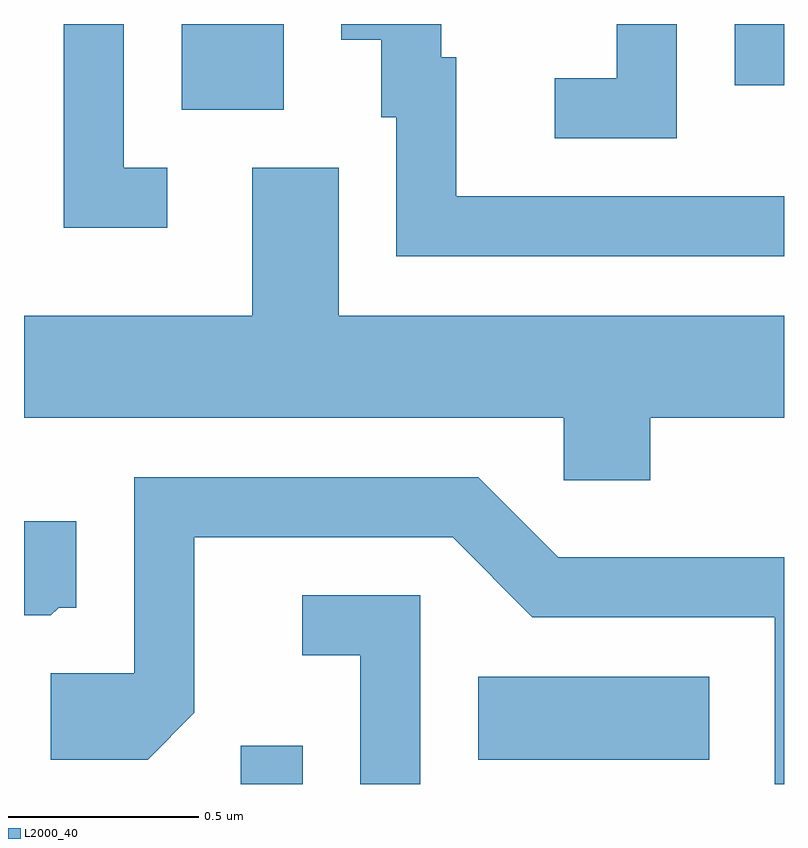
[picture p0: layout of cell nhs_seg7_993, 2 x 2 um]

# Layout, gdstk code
import gdstk
lib = gdstk.Library(unit=1e-6, precision=1e-09)
def R(c, l, rs):  # rectangles x0, y0, x1, y1
    for r in rs: c.add(gdstk.rectangle(r[:2], r[2:], *l))
def P(c, l, *ps):  # polygons
    for p in ps: c.add(gdstk.Polygon(p, *l))
L2000_40 = (2000, 40)

nhs_seg7_993 = lib.new_cell('nhs_seg7_993')
R(nhs_seg7_993, L2000_40, [(193.181,1702.252,193.344,1702.353), (193.806,1702.316,194.414,1702.534), (193.026,1704.026,193.294,1704.252), (194.481,1704.091,194.611,1704.252)])
P(nhs_seg7_993, L2000_40, [(192.988,1703.874),(192.874,1703.874),(192.874,1704.252),(192.716,1704.252),(192.716,1703.716),(192.988,1703.716)],
  [(194.611,1703.799),(193.749,1703.799),(193.749,1704.164),(193.709,1704.164),(193.709,1704.252),(193.446,1704.252),(193.446,1704.211),(193.551,1704.211),(193.551,1704.006),(193.591,1704.006),(193.591,1703.641),(194.611,1703.641)],
  [(194.329,1704.252),(194.171,1704.252),(194.171,1704.109),(194.008,1704.109),(194.008,1703.951),(194.329,1703.951)],
  [(194.259,1703.216),(194.611,1703.216),(194.611,1703.484),(193.439,1703.484),(193.439,1703.874),(193.211,1703.874),(193.211,1703.484),(192.611,1703.484),(192.611,1703.216),(194.031,1703.216),(194.031,1703.051),(194.259,1703.051)],
  [(194.611,1702.849),(194.017,1702.849),(193.807,1703.059),(192.901,1703.059),(192.901,1702.544),(192.681,1702.544),(192.681,1702.316),(192.937,1702.316),(193.059,1702.439),(193.059,1702.901),(193.739,1702.901),(193.949,1702.691),(194.586,1702.691),(194.586,1702.252),(194.611,1702.252)],
  [(192.702,1702.716),(192.749,1702.716),(192.749,1702.944),(192.611,1702.944),(192.611,1702.696),(192.682,1702.696)],
  [(193.654,1702.749),(193.343,1702.749),(193.343,1702.591),(193.496,1702.591),(193.496,1702.252),(193.654,1702.252)])

lib.write_gds('nhs_seg7_993.gds')
